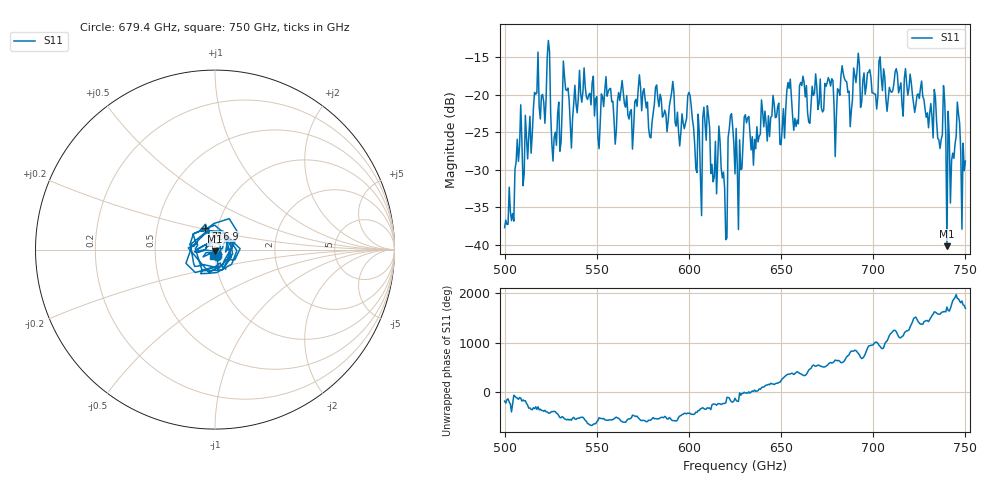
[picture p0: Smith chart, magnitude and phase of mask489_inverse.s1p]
!Created with skrf (http://scikit-rf.org).
# GHz S MA R 50.0
!freq magS11 angS11
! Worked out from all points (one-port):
!   401 points, 500 GHz to 750 GHz, reference 50 ohm
!   lowest |S11| = -40.2 dB at 740 GHz (marker M1), VSWR 1.02, Z = 50.2 - j0.965 ohm
!   |S11| at or under -10 dB: start of sweep to end of sweep
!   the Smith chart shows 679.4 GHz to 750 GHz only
!   S11 on the Smith chart (normalised r, x): 679.4 GHz: 1.02, -0.07; 716.9 GHz: 0.88, +0.21; 750 GHz: 0.98, -0.07
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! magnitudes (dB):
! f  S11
! 500 GHz  -37.7
! 516.9 GHz  -19.9
! 523.8 GHz  -12.8
! 526.9 GHz  -25.7
! 531.2 GHz  -21.8
! 562.5 GHz  -20.8
! 590.6 GHz  -19.7
! 593.8 GHz  -22.3
! 600.6 GHz  -20.1
! 605.6 GHz  -25.0
! 609.4 GHz  -26.1
! 613.8 GHz  -31.0
! 617.5 GHz  -29.8
! 619.4 GHz  -32.4
! 622.5 GHz  -22.8
! 625 GHz  -30.6
! 627.5 GHz  -26.0
! 631.2 GHz  -23.7
! 635 GHz  -29.4
! 656.2 GHz  -22.8
! 679.4 GHz  -28.2
! 683.8 GHz  -17.2
! 687.5 GHz  -24.3
! 691.2 GHz  -16.7
! 716.9 GHz  -17.8
! 718.8 GHz  -20.0
! 740 GHz  -40.2
! 750 GHz  -28.8
